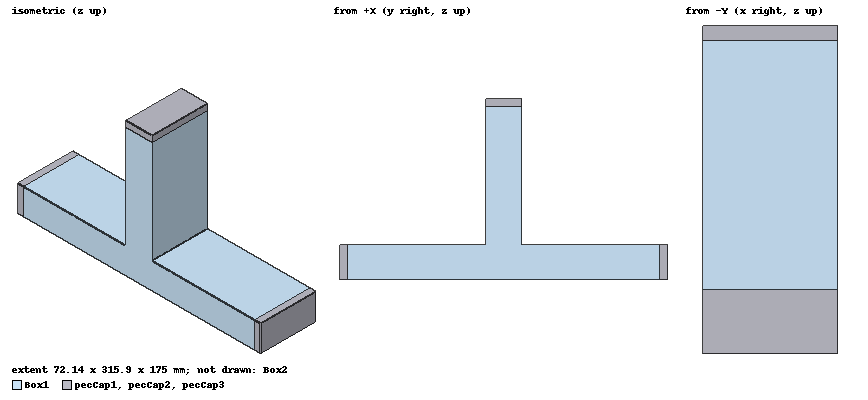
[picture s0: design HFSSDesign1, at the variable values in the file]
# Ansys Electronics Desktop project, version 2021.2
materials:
  vacuum: permittivity=1
  pec: conductivity=1e+30

design HFSSDesign1 (HFSS, DrivenModal, model units mm)
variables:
  a = 72.136mm
  b = 34.036mm
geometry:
  Box1 [vacuum] = box(corner=(-a/2, -b/2, 0mm), size=(a, b, 150mm))
  Box2 [vacuum] = box(corner=(-a*3, -b*5, -75mm), size=(a*6, b*10, 300mm))
  Box1_1 = Box1.duplicate_around_axis(axis=X, angle=90deg, total=2)
  Box1_2 = Box1.duplicate_around_axis(axis=X, angle=-90deg, total=2)
  Box1.unite(Box1_1, Box1_2)
  pecCap1 [pec] = sweep_along_normal(Box1.face(1 of 6), length=7.97mm)
  pecCap2 [pec] = sweep_along_normal(Box1.face(1 of 6), length=7.97mm)
  pecCap3 [pec] = sweep_along_normal(Box1.face(+z), length=7.97mm)
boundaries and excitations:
  Rad1: Radiation Objects=Box2
  PerfE2: Perfect E Objects=Box1
  2: Wave Port Faces=Box1.face(1 of 6) NumModes=1 Modes{Mode1{IntLine{middle of Box1.edge(4 of 12) -> middle of Box1.edge(2 of 12)} CharImp=Zpi}}
  3: Wave Port Faces=Box1.face(1 of 6) NumModes=1 Modes{Mode1{IntLine{middle of Box1.edge(2 of 12) -> middle of Box1.edge(4 of 12)} CharImp=Zpi}}
  4: Wave Port Faces=Box1.face(+z) NumModes=1 Modes{Mode1{IntLine{middle of Box1.edge(2 of 12) -> middle of Box1.edge(4 of 12)} CharImp=Zpi}}
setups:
  Setup1: HfssDriven MultipleAdaptiveFreqsSetup{Low=2GHz High=4.5GHz} MaxDeltaS=0.02 MaximumPasses=20 MinimumPasses=1 MinimumConvergedPasses=1 PercentRefinement=30 BasisOrder=1 PortAccuracy=2
    sweep Sweep: 2GHz to 4.5GHz, 401 points; Type=Fast SaveFields
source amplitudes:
  2:1: 1W 0deg
  3:1, 4:1: 0W 0deg
